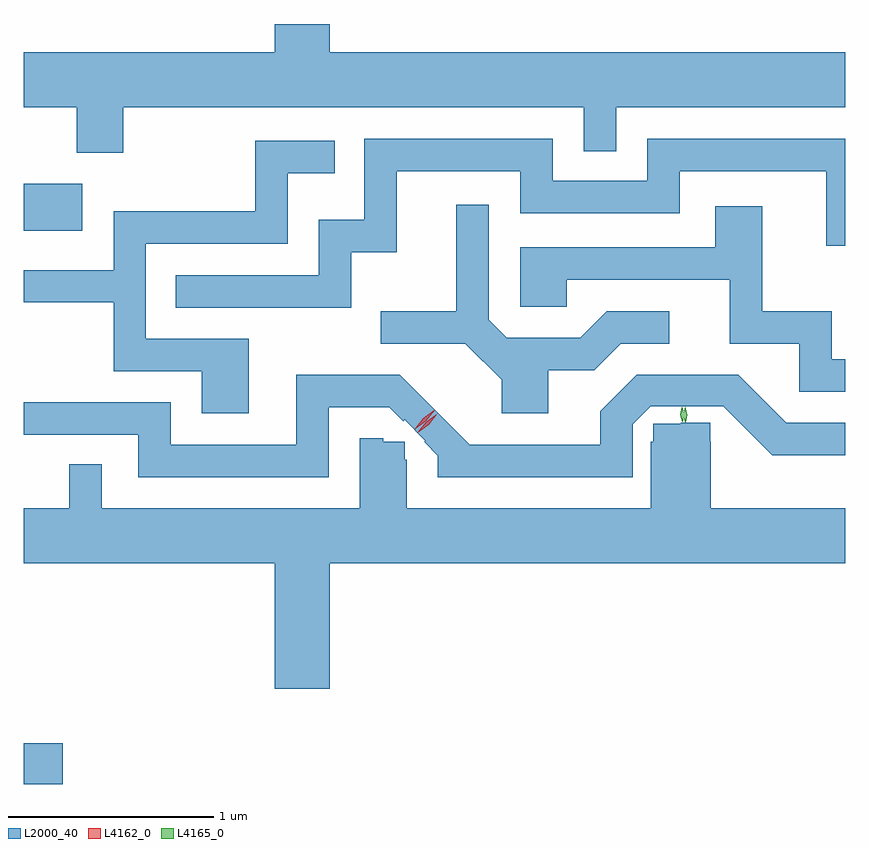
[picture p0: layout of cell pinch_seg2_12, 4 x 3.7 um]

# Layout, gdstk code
import gdstk
lib = gdstk.Library(unit=1e-6, precision=1e-09)
def R(c, l, rs):  # rectangles x0, y0, x1, y1
    for r in rs: c.add(gdstk.rectangle(r[:2], r[2:], *l))
def P(c, l, *ps):  # polygons
    for p in ps: c.add(gdstk.Polygon(p, *l))
L2000_40 = (2000, 40)
L4162_0 = (4162, 0)
L4165_0 = (4165, 0)

pinch_seg2_12 = lib.new_cell('pinch_seg2_12')
R(pinch_seg2_12, L2000_40, [(1892.174,1011.721,1892.364,1011.919), (1892.174,1014.416,1892.459,1014.644)])
P(pinch_seg2_12, L2000_40, [(1892.659,1015.016),(1894.901,1015.016),(1894.901,1014.803),(1895.059,1014.803),(1895.059,1015.016),(1896.174,1015.016),(1896.174,1015.284),(1893.664,1015.284),(1893.664,1015.422),(1893.396,1015.422),(1893.396,1015.284),(1892.174,1015.284),(1892.174,1015.016),(1892.431,1015.016),(1892.431,1014.796),(1892.659,1014.796)],
  [(1893.769,1014.311),(1893.989,1014.311),(1893.989,1014.706),(1894.591,1014.706),(1894.591,1014.501),(1895.369,1014.501),(1895.369,1014.706),(1896.081,1014.706),(1896.081,1014.341),(1896.174,1014.341),(1896.174,1014.864),(1895.211,1014.864),(1895.211,1014.659),(1894.749,1014.659),(1894.749,1014.864),(1893.831,1014.864),(1893.831,1014.469),(1893.611,1014.469),(1893.611,1014.199),(1892.913,1014.199),(1892.913,1014.041),(1893.769,1014.041)],
  [(1893.269,1013.889),(1892.769,1013.889),(1892.769,1014.351),(1893.459,1014.351),(1893.459,1014.696),(1893.688,1014.696),(1893.688,1014.854),(1893.301,1014.854),(1893.301,1014.509),(1892.611,1014.509),(1892.611,1014.224),(1892.174,1014.224),(1892.174,1014.066),(1892.611,1014.066),(1892.611,1013.731),(1893.041,1013.731),(1893.041,1013.526),(1893.269,1013.526)],
  [(1894.729,1013.736),(1894.952,1013.736),(1895.082,1013.866),(1895.318,1013.866),(1895.318,1014.024),(1895.014,1014.024),(1894.884,1013.894),(1894.527,1013.894),(1894.439,1013.982),(1894.439,1014.543),(1894.281,1014.543),(1894.281,1014.024),(1893.913,1014.024),(1893.913,1013.866),(1894.324,1013.866),(1894.501,1013.689),(1894.501,1013.526),(1894.729,1013.526)],
  [(1896.174,1013.789),(1896.109,1013.789),(1896.109,1014.024),(1895.769,1014.024),(1895.769,1014.534),(1895.541,1014.534),(1895.541,1014.334),(1894.591,1014.334),(1894.591,1014.046),(1894.819,1014.046),(1894.819,1014.176),(1895.611,1014.176),(1895.611,1013.866),(1895.951,1013.866),(1895.951,1013.631),(1896.174,1013.631)],
  [(1893.659,1013.556),(1893.954,1013.556),(1894.022,1013.488),(1894.028,1013.494),(1894.129,1013.393),(1894.123,1013.387),(1894.191,1013.319),(1894.191,1013.216),(1895.139,1013.216),(1895.139,1013.474),(1895.226,1013.561),(1895.579,1013.561),(1895.819,1013.321),(1896.174,1013.321),(1896.174,1013.479),(1895.887,1013.479),(1895.652,1013.714),(1895.159,1013.714),(1894.981,1013.537),(1894.981,1013.374),(1894.345,1013.374),(1894.005,1013.714),(1893.501,1013.714),(1893.501,1013.374),(1892.889,1013.374),(1892.889,1013.579),(1892.174,1013.579),(1892.174,1013.421),(1892.731,1013.421),(1892.731,1013.216),(1893.659,1013.216)],
  [(1893.664,1012.796),(1896.174,1012.796),(1896.174,1013.064),(1895.519,1013.064),(1895.519,1013.387),(1895.518,1013.387),(1895.518,1013.48),(1895.373,1013.48),(1895.373,1013.475),(1895.24,1013.475),(1895.24,1013.387),(1895.226,1013.387),(1895.226,1013.064),(1894.039,1013.064),(1894.039,1013.3),(1894.028,1013.3),(1894.028,1013.388),(1893.925,1013.388),(1893.925,1013.404),(1893.811,1013.404),(1893.811,1013.064),(1892.554,1013.064),(1892.554,1013.278),(1892.396,1013.278),(1892.396,1013.064),(1892.174,1013.064),(1892.174,1012.796),(1893.396,1012.796),(1893.396,1012.186),(1893.664,1012.186)])
P(pinch_seg2_12, L4162_0, [(1894.075,1013.445),(1894.075,1013.446),(1894.118,1013.501),(1894.174,1013.543),(1894.174,1013.543),(1894.174,1013.542),(1894.132,1013.487),(1894.076,1013.445)],
  [(1894.092,1013.432),(1894.092,1013.433),(1894.133,1013.486),(1894.187,1013.525),(1894.187,1013.525),(1894.187,1013.524),(1894.146,1013.471),(1894.092,1013.432)])
P(pinch_seg2_12, L4165_0, [(1895.397,1013.482),(1895.396,1013.483),(1895.386,1013.52),(1895.395,1013.557),(1895.395,1013.558),(1895.396,1013.557),(1895.406,1013.52),(1895.397,1013.483)],
  [(1895.381,1013.484),(1895.381,1013.484),(1895.371,1013.519),(1895.379,1013.555),(1895.38,1013.555),(1895.38,1013.555),(1895.39,1013.52),(1895.382,1013.484)])

lib.write_gds('pinch_seg2_12.gds')
